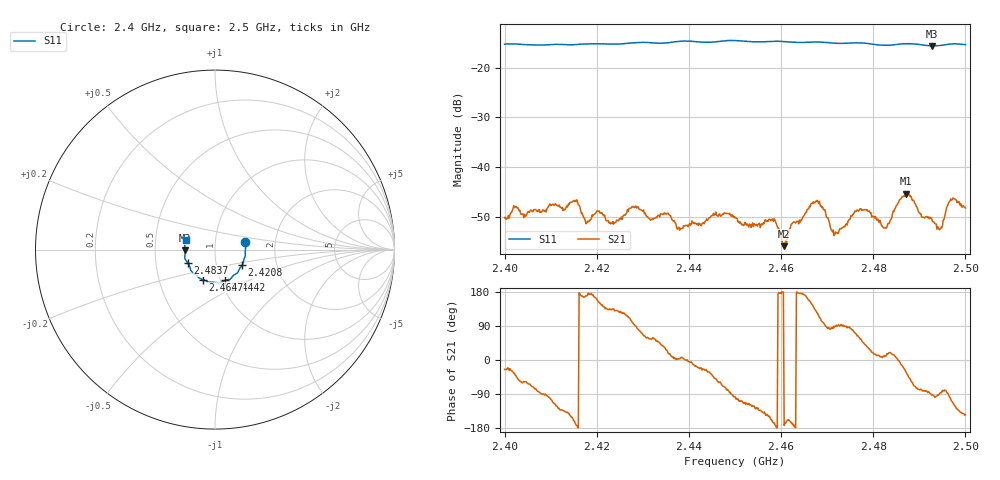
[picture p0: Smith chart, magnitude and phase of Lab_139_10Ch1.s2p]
# Hz S RI R 50
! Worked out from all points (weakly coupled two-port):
!   601 points, 2.4 GHz to 2.5 GHz, reference 50 ohm
!   highest |S21| = -45.32 dB at 2.4872 GHz (marker M1); lowest = -55.9 dB at 2.4607 GHz (marker M2)
!   lowest |S11| = -15.6 dB at 2.4928 GHz (marker M3), VSWR 1.40, Z = 35.8 - j0.368 ohm
!   |S11| at or under -10 dB: start of sweep to end of sweep
!   S12 and S22 are empty: the file has one direction only
!   S11 on the Smith chart (normalised r, x): 2.4 GHz: 1.40, +0.12; 2.4208 GHz: 1.33, -0.24; 2.4442 GHz: 1.05, -0.37; 2.4647 GHz: 0.83, -0.29; 2.4837 GHz: 0.73, -0.11; 2.5 GHz: 0.72, +0.08
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2.4e9  0.168 0.041  0.0028 -0.0013  0 0  0 0
2.415167e9  0.1606 -0.0573  -0.00431 -0.00141  0 0  0 0
2.416667e9  0.159 -0.0681  -0.00335 0.00063  0 0  0 0
2.420833e9  0.1509 -0.0871  -0.00291 0.00181  0 0  0 0
2.423167e9  0.1429 -0.0977  -0.00186 0.00202  0 0  0 0
2.433333e9  0.1079 -0.1402  0.00218 0.00245  0 0  0 0
2.438e9  0.088 -0.1624  0.00231 0.000132  0 0  0 0
2.444167e9  0.0568 -0.1712  0.00256 -0.00155  0 0  0 0
2.45e9  0.0245 -0.1864  -0.000401 -0.00312  0 0  0 0
2.458333e9  -0.0275 -0.183  -0.00276 -0.000723  0 0  0 0
2.460667e9  -0.0388 -0.1791  -0.00159 -0.000195  0 0  0 0
2.464667e9  -0.0673 -0.1668  -0.00309 0.000248  0 0  0 0
2.466667e9  -0.0802 -0.1626  -0.00364 0.00233  0 0  0 0
2.472e9  -0.1017 -0.144  -7.82e-05 0.00219  0 0  0 0
2.476833e9  -0.1313 -0.1206  0.00173 0.00316  0 0  0 0
2.483333e9  -0.1504 -0.0762  0.00257 0.000858  0 0  0 0
2.483667e9  -0.1522 -0.0732  0.00271 0.000978  0 0  0 0
2.487167e9  -0.1671 -0.0516  0.00454 -0.00296  0 0  0 0
2.492833e9  -0.1658 -0.005  -7.92e-05 -0.00284  0 0  0 0
2.4945e9  -0.1669 0.0132  0.000108 -0.00236  0 0  0 0
2.497167e9  -0.1705 0.0338  -0.00161 -0.00442  0 0  0 0
2.5e9  -0.1626 0.0526  -0.00316 -0.00224  0 0  0 0
